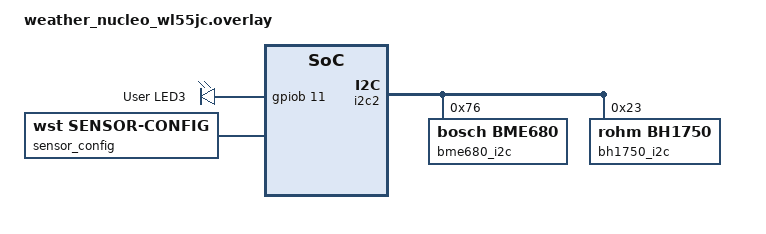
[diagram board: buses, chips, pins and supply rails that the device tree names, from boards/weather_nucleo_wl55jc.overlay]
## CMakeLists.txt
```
#
# This file is part of Weather Station project <https://github.com/VeniaminGH/Weather-Station>.
# Copyright (c) 2024 Veniamin Milevski
#
# This program is free software: you can redistribute it and/or modify
# it under the terms of the GNU General Public License as published by
# the Free Software Foundation, version 3.
#
# This program is distributed WITHOUT ANY WARRANTY. See the GNU
# General Public License for more details.
#
# You should have received a copy of the GNU General Public License
# along with this program. If not, see <https://www.gnu.org/licenses/gpl-3.0.html>.
#

cmake_minimum_required(VERSION 3.20.0)

find_package(Zephyr REQUIRED HINTS $ENV{ZEPHYR_BASE})
project(weather_station)

target_sources(app PRIVATE src/main.c)

target_sources(app PRIVATE src/wst_io_thread.c)
target_sources(app PRIVATE src/wst_app_thread.c)
target_sources(app PRIVATE src/wst_sensor_thread.c)

target_sources(app PRIVATE src/wst_cayenne_lpp.c)
target_sources(app PRIVATE src/wst_events.c)
target_sources(app PRIVATE src/wst_lorawan.c)
target_sources(app PRIVATE src/wst_sensor_config.c)
target_sources(app PRIVATE src/wst_sensor_utils.c)

target_sources_ifdef(
	CONFIG_WST_UI
    app
    PRIVATE
    src/wst_key_driver.c
	src/wst_led_driver.c
)
```

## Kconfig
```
menu "Weather Station"

source "Kconfig.zephyr"

config WST_UI
	bool "Enable user interface"
	default n
	help
		Enables control buttons and led feedback

endmenu
```

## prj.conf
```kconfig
CONFIG_USERSPACE=y
CONFIG_HW_STACK_PROTECTION=y
CONFIG_APPLICATION_DEFINED_SYSCALL=y

# RAM configuration
CONFIG_INIT_STACKS=y
CONFIG_MAIN_STACK_SIZE=1024
#CONFIG_HEAP_MEM_POOL_SIZE=4096
CONFIG_SYSTEM_WORKQUEUE_STACK_SIZE=4096

CONFIG_LOG=y
CONFIG_SPI=y
CONFIG_GPIO=y
CONFIG_SENSOR=y
CONFIG_ADC=y
CONFIG_I2C=y

# SENSOR
CONFIG_SENSOR_ASYNC_API=y
CONFIG_SENSOR_INFO=y

# I2C
CONFIG_I2C_DUMP_MESSAGES=n
CONFIG_I2C_LOG_LEVEL_DBG=n

# LORA
CONFIG_LORA=y
CONFIG_LORAWAN=y
CONFIG_LORAMAC_REGION_EU868=y
CONFIG_LORAWAN_LOG_LEVEL_DBG=y

# WST
CONFIG_WST_UI=y
```

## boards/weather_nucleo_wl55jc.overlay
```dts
/*
 * This file is part of Weather Station project <https://github.com/VeniaminGH/Weather-Station>.
 * Copyright (c) 2024 Veniamin Milevski
 *
 * This program is free software: you can redistribute it and/or modify
 * it under the terms of the GNU General Public License as published by
 * the Free Software Foundation, version 3.
 *
 * This program is distributed WITHOUT ANY WARRANTY. See the GNU
 * General Public License for more details.
 *
 * You should have received a copy of the GNU General Public License
 * along with this program. If not, see <https://www.gnu.org/licenses/gpl-3.0.html>.
 */

#include "wst_sensor_types.h"

/ {
	leds: leds {
		red_led_3: led_2 {
			gpios = <&gpiob 11 GPIO_ACTIVE_HIGH>;
			label = "User LED3";
		};
	};

	aliases {
		led0 = &blue_led_1;
		led1 = &green_led_2;
		led2 = &red_led_3;
	};
};

&i2c2 {
	bme680_i2c: bme680@76 {
		// 0x76 - SDO <-> GND
		// 0x77 - SDO <-> VCC
		compatible = "bosch,bme680";
		reg = <0x76>;
	};

	bh1750_i2c: bh1750@23 {
		// 0x23 - ADDR <-> GND
		// 0x5c - ADDR <-> VCC
		compatible = "rohm,bh1750";
		reg = <0x23>;
	};
};

/ {
	sensor_config: sensor-config {
		compatible = "wst,sensor-config";
		status = "okay";

		polling-interval-ms = <5000>;

		die_temp_sensor: die-temp-sensor {
			compatible = "wst,sensor";
			status = "okay";

			friendly-name = "Die Temp Sensor";
			channel-types =
				<WST_CHANNEL_TYPE_DIE_TEMP>;
			sensor-device = <&die_temp>;
		};

		env_sensor: env-sensor {
			compatible = "wst,sensor";
			status = "okay";

			friendly-name = "Environment Sensor";
			channel-types = <
				WST_CHANNEL_TYPE_AMBIENT_TEMP
				WST_CHANNEL_TYPE_HUMIDITY
				WST_CHANNEL_TYPE_PRESS
				WST_CHANNEL_TYPE_GAS_RES
			>;
			sensor-device = <&bme680_i2c>;
		};

		light_sensor: light-sensor {
			compatible = "wst,sensor";
			status = "okay";

			friendly-name = "Light Sensor";
			channel-types =
				<WST_CHANNEL_TYPE_LIGHT>;
			sensor-device = <&bh1750_i2c>;
		};
	};
};
```

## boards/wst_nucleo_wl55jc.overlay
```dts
/*
 * This file is part of Weather Station project <https://github.com/VeniaminGH/Weather-Station>.
 * Copyright (c) 2024 Veniamin Milevski
 *
 * This program is free software: you can redistribute it and/or modify
 * it under the terms of the GNU General Public License as published by
 * the Free Software Foundation, version 3.
 *
 * This program is distributed WITHOUT ANY WARRANTY. See the GNU
 * General Public License for more details.
 *
 * You should have received a copy of the GNU General Public License
 * along with this program. If not, see <https://www.gnu.org/licenses/gpl-3.0.html>.
 */

#include "wst_sensor_types.h"

/ {
	leds: leds {
		red_led_3: led_2 {
			gpios = <&gpiob 11 GPIO_ACTIVE_HIGH>;
			label = "User LED3";
		};
	};

	aliases {
		led0 = &blue_led_1;
		led1 = &green_led_2;
		led2 = &red_led_3;
	};
};

&i2c2 {
	bme680_i2c: bme680@76 {
		// 0x76 - SDO <-> GND
		// 0x77 - SDO <-> VCC
		compatible = "bosch,bme680";
		reg = <0x76>;
	};

	bh1750_i2c: bh1750@23 {
		// 0x23 - ADDR <-> GND
		// 0x5c - ADDR <-> VCC
		compatible = "rohm,bh1750";
		reg = <0x23>;
	};
};

/ {
	sensor_config: sensor-config {
		compatible = "wst,sensor-config";
		status = "okay";

		polling-interval-ms = <20000>;

		die_temp_sensor: die-temp-sensor {
			compatible = "wst,sensor";
			status = "okay";

			friendly-name = "Die Temp Sensor";
			channel-types =
				<WST_CHANNEL_TYPE_DIE_TEMP>;
			sensor-device = <&die_temp>;
		};

		env_sensor: env-sensor {
			compatible = "wst,sensor";
			status = "okay";

			friendly-name = "Environment Sensor";
			channel-types = <
				WST_CHANNEL_TYPE_AMBIENT_TEMP
				WST_CHANNEL_TYPE_HUMIDITY
				WST_CHANNEL_TYPE_PRESS
				WST_CHANNEL_TYPE_GAS_RES
			>;
			sensor-device = <&bme680_i2c>;
		};

		light_sensor: light-sensor {
			compatible = "wst,sensor";
			status = "okay";

			friendly-name = "Light Sensor";
			channel-types =
				<WST_CHANNEL_TYPE_LIGHT>;
			sensor-device = <&bh1750_i2c>;
		};
	};
};
```

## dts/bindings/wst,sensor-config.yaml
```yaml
#
# This file is part of Weather Station project <https://github.com/VeniaminGH/Weather-Station>.
# Copyright (c) 2024 Veniamin Milevski
#
# This program is free software: you can redistribute it and/or modify
# it under the terms of the GNU General Public License as published by
# the Free Software Foundation, version 3.
#
# This program is distributed WITHOUT ANY WARRANTY. See the GNU
# General Public License for more details.
#
# You should have received a copy of the GNU General Public License
# along with this program. If not, see <https://www.gnu.org/licenses/gpl-3.0.html>.
#

description: WST sensor configuration bindings

compatible: "wst,sensor-config"

properties:
  polling-interval-ms:
    type: int
    required: true
    description: sensor report interval in ms
```

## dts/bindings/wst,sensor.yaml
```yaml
#
# This file is part of Weather Station project <https://github.com/VeniaminGH/Weather-Station>.
# Copyright (c) 2024 Veniamin Milevski
#
# This program is free software: you can redistribute it and/or modify
# it under the terms of the GNU General Public License as published by
# the Free Software Foundation, version 3.
#
# This program is distributed WITHOUT ANY WARRANTY. See the GNU
# General Public License for more details.
#
# You should have received a copy of the GNU General Public License
# along with this program. If not, see <https://www.gnu.org/licenses/gpl-3.0.html>.
#

description: WST sensor common properties bindings

compatible: "wst,sensor"

include: sensor-device.yaml

properties:
  friendly-name:
    required: true

  channel-types:
    type: array
    required: true
    description: Zephyr sensor channel types

  sensor-device:
    type: phandle
    required: true
    description: physical sensor device
```

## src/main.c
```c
/*
 * This file is part of Weather Station project <https://github.com/VeniaminGH/Weather-Station>.
 * Copyright (c) 2024 Veniamin Milevski
 *
 * This program is free software: you can redistribute it and/or modify
 * it under the terms of the GNU General Public License as published by
 * the Free Software Foundation, version 3.
 *
 * This program is distributed WITHOUT ANY WARRANTY. See the GNU
 * General Public License for more details.
 *
 * You should have received a copy of the GNU General Public License
 * along with this program. If not, see <https://www.gnu.org/licenses/gpl-3.0.html>.
 */


#include "wst_io_thread.h"
#include "wst_app_thread.h"
#include "wst_sensor_thread.h"
#include "wst_events.h"

#include <zephyr/kernel.h>

#define LOG_LEVEL CONFIG_LOG_DEFAULT_LEVEL

#include <zephyr/logging/log.h>


LOG_MODULE_REGISTER(wst_main);


// Define IO Thread
struct k_thread wst_io_thread;
K_THREAD_STACK_DEFINE(wst_io_stack, WST_IO_STACKSIZE);

// Define Sensor Thread
struct k_thread wst_sensor_thread;
K_THREAD_STACK_DEFINE(wst_sensor_stack, WST_SENSOR_STACKSIZE);

// Define App Thread
struct k_thread wst_app_thread;
K_THREAD_STACK_DEFINE(wst_app_stack, WST_APP_STACKSIZE);


int main(void)
{
	LOG_INF("APP partition: %p %zu", (void *)wst_app_partition.start,
		(size_t)wst_app_partition.size);

	LOG_INF("Events partition: %p %zu", (void *)events_partition.start,
		(size_t)events_partition.size);

#ifdef Z_LIBC_PARTITION_EXISTS
	LOG_INF("libc partition: %p %zu", (void *)z_libc_partition.start,
		(size_t)z_libc_partition.size);
#endif
	sys_heap_init(&events_pool, events_pool_mem, sizeof(events_pool_mem));

	// Create IO Thread
	k_tid_t io_thread = k_thread_create(
		&wst_io_thread,
		wst_io_stack,
		WST_IO_STACKSIZE,
		wst_io_thread_entry,
		NULL, NULL, NULL,
		-1,
		K_INHERIT_PERMS,
		K_NO_WAIT);
	LOG_INF("IO thread is ceated");

	// Create App Thread
	k_tid_t app_thread = k_thread_create(
		&wst_app_thread,
		wst_app_stack,
		WST_APP_STACKSIZE,
		wst_app_thread_entry,
		NULL,
		NULL,
		NULL,
		-1,
		K_INHERIT_PERMS,
		K_NO_WAIT);
	LOG_INF("APP thread is ceated");

	// Create Sensor Thread
	k_tid_t sensor_thread = k_thread_create(
		&wst_sensor_thread,
		wst_sensor_stack,
		WST_SENSOR_STACKSIZE,
		wst_sensor_thread_entry,
		NULL,
		NULL,
		NULL,
		-1,
		K_INHERIT_PERMS,
		K_NO_WAIT);
	LOG_INF("SENSOR thread is ceated");

	k_thread_join(io_thread, K_FOREVER);
	k_thread_join(app_thread, K_FOREVER);
	k_thread_join(sensor_thread, K_FOREVER);

	return 0;
}
```

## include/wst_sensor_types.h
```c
/*
 * This file is part of Weather Station project <https://github.com/VeniaminGH/Weather-Station>.
 * Copyright (c) 2024 Veniamin Milevski
 *
 * This program is free software: you can redistribute it and/or modify
 * it under the terms of the GNU General Public License as published by
 * the Free Software Foundation, version 3.
 *
 * This program is distributed WITHOUT ANY WARRANTY. See the GNU
 * General Public License for more details.
 *
 * You should have received a copy of the GNU General Public License
 * along with this program. If not, see <https://www.gnu.org/licenses/gpl-3.0.html>.
 */

//
// WST channel types must match sensor channel enum values defined in sensor.h
//
#define WST_CHANNEL_TYPE_ACCEL_XYZ			(3)		// SENSOR_CHAN_ACCEL_XYZ
#define WST_CHANNEL_TYPE_GYRO_XYZ			(7)		// SENSOR_CHAN_GYRO_XYZ
#define WST_CHANNEL_TYPE_DIE_TEMP			(12)	// SENSOR_CHAN_DIE_TEMP
#define WST_CHANNEL_TYPE_AMBIENT_TEMP		(13)	// SENSOR_CHAN_AMBIENT_TEMP
#define WST_CHANNEL_TYPE_PRESS				(14)	// SENSOR_CHAN_PRESS
#define WST_CHANNEL_TYPE_HUMIDITY			(16)	// SENSOR_CHAN_HUMIDITY
#define WST_CHANNEL_TYPE_LIGHT				(17)	// SENSOR_CHAN_LIGHT
#define WST_CHANNEL_TYPE_GAS_RES			(30)	// SENSOR_CHAN_GAS_RES


//
// Skip below by Devicetree generator
//
#if defined(CONFIG_SENSOR)

#include <zephyr/drivers/sensor.h>

_Static_assert(
	(WST_CHANNEL_TYPE_ACCEL_XYZ		== SENSOR_CHAN_ACCEL_XYZ) &&
	(WST_CHANNEL_TYPE_GYRO_XYZ		== SENSOR_CHAN_GYRO_XYZ) &&
	(WST_CHANNEL_TYPE_DIE_TEMP		== SENSOR_CHAN_DIE_TEMP) &&
	(WST_CHANNEL_TYPE_AMBIENT_TEMP	== SENSOR_CHAN_AMBIENT_TEMP) &&
	(WST_CHANNEL_TYPE_PRESS			== SENSOR_CHAN_PRESS) &&
	(WST_CHANNEL_TYPE_HUMIDITY		== SENSOR_CHAN_HUMIDITY) &&
	(WST_CHANNEL_TYPE_LIGHT			== SENSOR_CHAN_LIGHT) &&
	(WST_CHANNEL_TYPE_GAS_RES		== SENSOR_CHAN_GAS_RES),
	"WST channel type defines and Sensor channel enums are not matching!");

#endif
```

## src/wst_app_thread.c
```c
/*
 * This file is part of Weather Station project <https://github.com/VeniaminGH/Weather-Station>.
 * Copyright (c) 2024 Veniamin Milevski
 *
 * This program is free software: you can redistribute it and/or modify
 * it under the terms of the GNU General Public License as published by
 * the Free Software Foundation, version 3.
 *
 * This program is distributed WITHOUT ANY WARRANTY. See the GNU
 * General Public License for more details.
 *
 * You should have received a copy of the GNU General Public License
 * along with this program. If not, see <https://www.gnu.org/licenses/gpl-3.0.html>.
 */

#include "wst_app_thread.h"
#include "wst_events.h"
#include "wst_key_driver.h"
#include "wst_led_driver.h"
#include "wst_sensor_config.h"
#include "wst_sensor_utils.h"
#include "wst_cayenne_lpp.h"

#include <zephyr/kernel.h>
#include <zephyr/device.h>
#include <zephyr/sys/libc-hooks.h>
#include <zephyr/logging/log.h>


LOG_MODULE_REGISTER(wst_app_thread);

//
// Resource pool for allocations made by the kernel on behalf of system
// calls. Needed for k_queue_alloc_append()
//
K_HEAP_DEFINE(wst_app_resource_pool, 256 * 4 + 128);

//
// Define wst_app_partition for all globals.
//
K_APPMEM_PARTITION_DEFINE(wst_app_partition);

#if defined (CONFIG_WST_UI)
//
// Global data used by WST app. By tagging with WST_APP_BSS or WST_APP_DATA,
// we ensure that all this gets linked into wst_app_partition.
//
WST_APP_BSS const struct device *key_device;
WST_APP_BSS const struct device *led_device;
#endif

#if defined (CONFIG_WST_UI)
static void key_event_handler(
	const struct device *dev,
	wst_key_id_t id,
	wst_key_event_t event,
	void* context)
{
	ARG_UNUSED(dev);
	ARG_UNUSED(context);

	LOG_INF("Key event: key_id - %d, event - %d", id, event);

	switch (id)
	{
		case WST_KEY_ID_0:
			wst_led_driver_set_state(
				led_device,
				WST_LED_ID_BLUE,
				(WST_KEY_EVENT_KEY_DOWN == event) ? true : false);
			break;

		case WST_KEY_ID_1:
			wst_led_driver_set_state(
				led_device,
				WST_LED_ID_GREEN,
				(WST_KEY_EVENT_KEY_DOWN == event) ? true : false);
			break;

		case WST_KEY_ID_2:
			wst_led_driver_set_state(
				led_device,
				WST_LED_ID_RED,
				(WST_KEY_EVENT_KEY_DOWN == event) ? true : false);
			break;

		default:
			break;
	}
}
#endif

static void stream_sensor_data(const wst_event_msg_t* msg, cayenne_lpp_stream_t* stream)
{
	for (uint16_t i = 0; i < msg->sensor.count; i++) {

		struct sensor_value val;
		cayenne_lpp_value_t lpp_value;
		cayenne_lpp_result_t result = cayenne_lpp_result_success;
		const wst_sensor_value_t* value = &msg->sensor.values[i];

		if (wst_sensor_format_scalar == wst_sensor_get_channel_format(value->spec.chan_type)) {

			wst_q31_to_sensor_value(
				value->data.q31_data.readings[0].value,
				value->data.q31_data.shift,
				&val
			);

			LOG_INF("%-20s : %6d.%06d",
				wst_sensor_get_channel_name(value->spec.chan_type),
				((val.val1 < 0) || (val.val2 < 0)) ? 0 - abs(val.val1) : abs(val.val1),
				abs(val.val2)
			);
		};

		switch (value->spec.chan_type) {
			case SENSOR_CHAN_AMBIENT_TEMP:
			case SENSOR_CHAN_DIE_TEMP:
				{
				lpp_value.temperature_sensor.celsius = sensor_value_to_float(&val);

				result = cayenne_lpp_stream_write(
					stream,
					SENSOR_CHAN_DIE_TEMP == value->spec.chan_type ?
						(value->spec.chan_idx + 0x80) :
						value->spec.chan_idx,
					cayenne_lpp_type_temperature_sensor,
					&lpp_value);
				}
				break;

			case SENSOR_CHAN_LIGHT:
				{
				lpp_value.illuminance_sensor.lux = sensor_value_to_float(&val);

				result = cayenne_lpp_stream_write(
					stream,
					value->spec.chan_idx,
					cayenne_lpp_type_illuminance_sensor,
					&lpp_value);
				}
				break;

			case SENSOR_CHAN_HUMIDITY:
				{
				lpp_value.humidity_sensor.rh = sensor_value_to_float(&val);

				result = cayenne_lpp_stream_write(
					stream,
					value->spec.chan_idx,
					cayenne_lpp_type_humidity_sensor,
					&lpp_value);
				}
				break;

			case SENSOR_CHAN_PRESS:
				{
				lpp_value.barometer.hpa = sensor_value_to_float(&val);

				result = cayenne_lpp_stream_write(
					stream,
					value->spec.chan_idx,
					cayenne_lpp_type_barometer,
					&lpp_value);
				}
				break;

			default:
				break;
		};

		if (cayenne_lpp_result_error_end_of_stream == result) {
			// return and send what we have serialized
			return;
		}
	}
}

static void process_sensor_data_event(wst_event_msg_t* msg, size_t max_size)
{
	size_t stream_size = 0;
	const uint8_t* stream_buffer = NULL;

	cayenne_lpp_stream_t* stream = cayenne_lpp_stream_new(
		max_size,
		NULL
	);

	stream_sensor_data(msg, stream);

	stream_buffer = cayenne_lpp_stream_get_buffer(
		stream,
		NULL,
		&stream_size
	);

	if (stream_buffer)
	{
		wst_event_msg_t* io_msg = sys_heap_alloc(
			&events_pool,
			sizeof(wst_event_msg_t) + stream_size
		);

		if (io_msg == NULL) {
			LOG_ERR("couldn't alloc memory from shared pool");
			k_panic();
		}

		io_msg->event = wst_event_lorawan_send;
		io_msg->lorawan.send.size = stream_size;

		memcpy(
			io_msg->lorawan.send.payload,
			stream_buffer,
			stream_size
		);

		k_queue_alloc_append(&io_events_queue, io_msg);
	}
	cayenne_lpp_stream_delete(stream);
}

static void application_thread(void *p1, void *p2, void *p3)
{
	ARG_UNUSED(p1);
	ARG_UNUSED(p2);
	ARG_UNUSED(p3);

	LOG_DBG("Application thread entered");

	wst_event_msg_t* msg;

	bool joined = false;
	bool busy = false;

	size_t max_size = 10;

	// Send join message to IO Thread
	msg = sys_heap_alloc(&events_pool, sizeof(wst_event_msg_t));
	if (msg == NULL) {
		LOG_ERR("couldn't alloc memory from shared pool");
		k_panic();
	}
	msg->event = wst_event_lorawan_join;
	k_queue_alloc_append(&io_events_queue, msg);


	//
	// Wait for indication that IO thread joined the LoRaWAN Network
	//
	while (1) {
		msg = k_queue_get(&app_events_queue, K_FOREVER);

		if (msg == NULL) {
			LOG_ERR("no msg?");
			k_panic();
		}

		switch (msg->event) {

		case wst_event_lorawan_datarate:
			LOG_INF("Datarate message received");
			if (!joined) {
				LOG_INF("Joined the Network!");
				joined = true;
			}
			LOG_INF("New Datarate: DR_%d, Next Paylaod %d, Max Payload %d",
				msg->lorawan.datarate.dr,
				msg->lorawan.datarate.next_size,
				msg->lorawan.datarate.max_size);
			max_size = msg->lorawan.datarate.max_size;
			break;

		case wst_event_sensor_data_available:
			LOG_INF("Data available message received");
			if (joined && max_size && !busy)
			{
				busy = true;
				process_sensor_data_event(msg, max_size);
			}
			break;

		case wst_event_lorawan_send_completed:
			LOG_INF("Send completed message received");
			busy = false;
			break;

		default:
			break;
		}

		// free the message
		sys_heap_free(&events_pool, msg);
	}
}

//
// Supervisor mode setup function for APP Thread
//
void wst_app_thread_entry(void *p1, void *p2, void *p3)
{
	int ret;

	LOG_INF("APP thread entry");

#if defined (CONFIG_WST_UI)
	key_device = device_get_binding(WST_KEY_DRIVER_NAME);
	if (key_device == NULL) {
		LOG_ERR("Failed to bind key device!");
		k_oops();
	}

	led_device = device_get_binding(WST_LED_DRIVER_NAME);
	if (led_device == NULL) {
		LOG_ERR("Failed to bind led device!");
		k_oops();
	}
#endif

	if (wst_app_partition.size) {
		//
		// Use default memory domain for our application thread
		// add add application to it.
		//
		ret = k_mem_domain_add_partition(
			&k_mem_domain_default,
			&wst_app_partition
		);
		if (ret != 0) {
			LOG_ERR("Failed to add wst_app_partition to mem domain (%d)", ret);
			k_oops();
		}
	}

	//
	// Add shared partition for messaging
	//
	ret = k_mem_domain_add_partition(
		&k_mem_domain_default,
		&events_partition
	);
	if (ret != 0) {
		LOG_ERR("Failed to add shared_partition to mem domain (%d)", ret);
		k_oops();
	}

	//
	// And system-wide pool of memory used by libc malloc()
	// needed for wst_cayenne_lpp module
	//
	ret = k_mem_domain_add_partition(
		&k_mem_domain_default,
		&z_malloc_partition
	);
	if (ret != 0) {
		LOG_ERR("Failed to add z_malloc_partition to mem domain (%d)", ret);
		k_oops();
	}

	//
	// Assign app resource pool to serve for kernel-side allocations
	// for k_queue_alloc_append().
	//
	k_thread_heap_assign(k_current_get(), &wst_app_resource_pool);

	//
	// Grant ourselves access to kernel device objects and shared queues.
	//
	k_thread_access_grant(
		k_current_get(),
#if defined (CONFIG_WST_UI)
		key_device,
		led_device,
#endif
		&app_events_queue,
		&io_events_queue
	);

#if defined (CONFIG_WST_UI)
	//
	// Set the callback function for the key driver. This has to be
	// done from supervisor mode, as this code will run in supervisor
	// mode in system worker context.
	//
	wst_key_driver_set_handler(key_device, key_event_handler, NULL);
#endif

	//
	// Switch APP thread to user mode
	//
	k_thread_user_mode_enter(application_thread, NULL, NULL, NULL);
}
```

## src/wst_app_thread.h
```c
/*
 * This file is part of Weather Station project <https://github.com/VeniaminGH/Weather-Station>.
 * Copyright (c) 2024 Veniamin Milevski
 *
 * This program is free software: you can redistribute it and/or modify
 * it under the terms of the GNU General Public License as published by
 * the Free Software Foundation, version 3.
 *
 * This program is distributed WITHOUT ANY WARRANTY. See the GNU
 * General Public License for more details.
 *
 * You should have received a copy of the GNU General Public License
 * along with this program. If not, see <https://www.gnu.org/licenses/gpl-3.0.html>.
 */

#pragma once

#include <zephyr/kernel.h>
#include <zephyr/app_memory/app_memdomain.h>

#define WST_APP_STACKSIZE	4096

void wst_app_thread_entry(void *p1, void *p2, void *p3);

extern struct k_mem_partition wst_app_partition;

#define WST_APP_DATA	K_APP_DMEM(wst_app_partition)
#define WST_APP_BSS		K_APP_BMEM(wst_app_partition)
```

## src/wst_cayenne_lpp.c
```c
/*
 * This file is part of Weather Station project <https://github.com/VeniaminGH/Weather-Station>.
 * Copyright (c) 2024 Veniamin Milevski
 *
 * This program is free software: you can redistribute it and/or modify
 * it under the terms of the GNU General Public License as published by
 * the Free Software Foundation, version 3.
 *
 * This program is distributed WITHOUT ANY WARRANTY. See the GNU
 * General Public License for more details.
 *
 * You should have received a copy of the GNU General Public License
 * along with this program. If not, see <https://www.gnu.org/licenses/gpl-3.0.html>.
 *
 * This module is based on below specification:
 *
 *   https://docs.mydevices.com/docs/lorawan/cayenne-lpp
 *
 */

#include "wst_cayenne_lpp.h"

#include <zephyr/sys/__assert.h>

#include <string.h>
#include <stdlib.h>
#include <stdint.h>

#define ROUND(f)	((f) + (((f) >= 0.0f) ? (0.5f) : (-0.5f)))

// Record size is field size + 1 byte for Channel + 1 byte for Type
#define CAYENNE_LPP_RECORD_SIZE(size)	((size) + 2)

#define HI_BYTE(b)	(((uint16_t)(b)) >> 8)
#define LO_BYTE(b)	(((uint16_t)(b)) & 0xff)

struct cayenne_lpp_stream {
	size_t size;
	uint8_t wr_pos;
	uint8_t rd_pos;
	uint8_t buffer[0];
};

typedef struct cayenne_lpp_encoding {
	size_t size;
} cayenne_lpp_encoding_t;

static const cayenne_lpp_encoding_t encoding[] = {
	[cayenne_lpp_type_digital_input]		= { .size = 1 },
	[cayenne_lpp_type_digital_output]		= { .size = 1 },
	[cayenne_lpp_type_analog_input]			= { .size = 2 },
	[cayenne_lpp_type_analog_output]		= { .size = 2 },
	[cayenne_lpp_type_temperature_sensor]	= { .size = 2 },
	[cayenne_lpp_type_humidity_sensor]		= { .size = 1 },
	[cayenne_lpp_type_barometer]			= { .size = 2 },
	[cayenne_lpp_type_illuminance_sensor]	= { .size = 2 },
};

static cayenne_lpp_result_t cayenne_lpp_type_check(cayenne_lpp_type_t type)
{
	switch (type)
	{
		case cayenne_lpp_type_digital_input:
		case cayenne_lpp_type_digital_output:
		case cayenne_lpp_type_analog_input:
		case cayenne_lpp_type_analog_output:
		case cayenne_lpp_type_temperature_sensor:
		case cayenne_lpp_type_humidity_sensor:
		case cayenne_lpp_type_barometer:
		case cayenne_lpp_type_illuminance_sensor:
			break;
		case cayenne_lpp_type_generic_sensor:
		case cayenne_lpp_type_presence_sensor:
		case cayenne_lpp_type_power_measurement:
		case cayenne_lpp_type_actuation:
		case cayenne_lpp_type_set_point:
		case cayenne_lpp_type_load_control:
		case cayenne_lpp_type_light_control:
		case cayenne_lpp_type_power_control:
		case cayenne_lpp_type_accelerometer:
		case cayenne_lpp_type_magnometer:
		case cayenne_lpp_type_voltage:
		case cayenne_lpp_type_current:
		case cayenne_lpp_type_frequency:
		case cayenne_lpp_type_depth:
		case cayenne_lpp_type_percentage:
		case cayenne_lpp_type_altitude:
		case cayenne_lpp_type_load:
		case cayenne_lpp_type_pressure:
		case cayenne_lpp_type_loudness:
		case cayenne_lpp_type_concentration:
		case cayenne_lpp_type_acidity:
		case cayenne_lpp_type_conductivity:
		case cayenne_lpp_type_power:
		case cayenne_lpp_type_power_factor:
		case cayenne_lpp_type_distance:
		case cayenne_lpp_type_energy:
		case cayenne_lpp_type_direction:
		case cayenne_lpp_type_time:
		case cayenne_lpp_type_gyrometer:
		case cayenne_lpp_type_color:
		case cayenne_lpp_type_gps_location:
		case cayenne_lpp_type_positioner:
		case cayenne_lpp_type_buzzer:
		case cayenne_lpp_type_audio_clip:
		case cayenne_lpp_type_timer:
		case cayenne_lpp_type_addr_text_display:
		case cayenne_lpp_type_onoff_switch:
		case cayenne_lpp_type_level_control:
		case cayenne_lpp_type_updown_control:
		case cayenne_lpp_type_multi_axis_control:
		case cayenne_lpp_type_rate:
		case cayenne_lpp_type_push_button:
		case cayenne_lpp_type_multistate_selector:
			return cayenne_lpp_result_error_not_implemented;
		default:
			return cayenne_lpp_result_error_unknown_type;
	}

	return cayenne_lpp_result_success;
}

cayenne_lpp_stream_t* cayenne_lpp_stream_new(size_t size, uint8_t* buffer)
{
	cayenne_lpp_stream_t* stream = malloc(sizeof(cayenne_lpp_stream_t) + size);
	__ASSERT(stream, "Failed to allocate cayenne lpp stream context!");

	stream->size = size;
	stream->wr_pos = 0;
	stream->rd_pos = 0;

	if (buffer)
	{
		memcpy(stream->buffer, buffer, size);
		// move wr_pos to the end
		stream->wr_pos = size;
	}
	return stream;
}

void cayenne_lpp_stream_delete(cayenne_lpp_stream_t* stream)
{
	__ASSERT_NO_MSG(stream);
	free(stream);
}

cayenne_lpp_result_t cayenne_lpp_stream_write(
	cayenne_lpp_stream_t* stream,
	uint8_t channel,
	cayenne_lpp_type_t type,
	const cayenne_lpp_value_t* value)
{
	__ASSERT_NO_MSG(stream);
	__ASSERT_NO_MSG(value);

	// check supported cayenne type
	cayenne_lpp_result_t result = cayenne_lpp_type_check(type);
	if (cayenne_lpp_result_success != result) {
		return result;
	}

	// check available stream buffer space
	if (CAYENNE_LPP_RECORD_SIZE(encoding[type].size) >
		(stream->size - stream->wr_pos)) {
		return cayenne_lpp_result_error_overflow;
	}

	switch (type)
	{
		case cayenne_lpp_type_digital_input:
		case cayenne_lpp_type_digital_output:
			{
			// 1 byte, unsigned
			stream->buffer[stream->wr_pos++] = channel;
			stream->buffer[stream->wr_pos++] = (uint8_t) type;
			stream->buffer[stream->wr_pos++] = value->digital_input;
			}
			break;

		case cayenne_lpp_type_analog_input:
		case cayenne_lpp_type_analog_output:
			{
			// 2 bytes, signed, 0.01
			int32_t val = (int32_t) ROUND(value->analog_input * 100.0f);
			if ((val < INT16_MIN) || (val > INT16_MAX))
				return cayenne_lpp_result_error_out_of_range;
			stream->buffer[stream->wr_pos++] = channel;
			stream->buffer[stream->wr_pos++] = (uint8_t) type;
			stream->buffer[stream->wr_pos++] = HI_BYTE(val);
			stream->buffer[stream->wr_pos++] = LO_BYTE(val);
			}
			break;

		case cayenne_lpp_type_temperature_sensor:
			{
			// 2 bytes, signed, 0.1°C
			int32_t val = (int32_t) ROUND(value->temperature_sensor.celsius * 10.0f);
			if ((val < INT16_MIN) || (val > INT16_MAX))
				return cayenne_lpp_result_error_out_of_range;
			stream->buffer[stream->wr_pos++] = channel;
			stream->buffer[stream->wr_pos++] = (uint8_t) type;
			stream->buffer[stream->wr_pos++] = HI_BYTE(val);
			stream->buffer[stream->wr_pos++] = LO_BYTE(val);
			}
			break;

		case cayenne_lpp_type_humidity_sensor:
			{
			// 1 byte, unsigned, 0.5%
			if ((value->humidity_sensor.rh < 0) || (value->humidity_sensor.rh > 100.0f))
				return cayenne_lpp_result_error_out_of_range;
			uint32_t val = (uint32_t) ROUND(value->humidity_sensor.rh * 2.0f);
			stream->buffer[stream->wr_pos++] = channel;
			stream->buffer[stream->wr_pos++] = (uint8_t) type;
			stream->buffer[stream->wr_pos++] = LO_BYTE(val);
			}
			break;

		case cayenne_lpp_type_barometer:
			{
			// 2 bytes, unsigned, 0.1 hPa
			int32_t val = (int32_t) ROUND(value->barometer.hpa * 10.0f);
			if ((val < 0) || (val > UINT16_MAX))
				return cayenne_lpp_result_error_out_of_range;
			stream->buffer[stream->wr_pos++] = channel;
			stream->buffer[stream->wr_pos++] = (uint8_t) type;
			stream->buffer[stream->wr_pos++] = HI_BYTE(val);
			stream->buffer[stream->wr_pos++] = LO_BYTE(val);
			}
			break;

		case cayenne_lpp_type_illuminance_sensor:
			{
			// 2 bytes, unsigned, 1 lux
			int32_t val = (int32_t) ROUND(value->illuminance_sensor.lux);
			if ((val < 0) || (val > UINT16_MAX))
				return cayenne_lpp_result_error_out_of_range;
			stream->buffer[stream->wr_pos++] = channel;
			stream->buffer[stream->wr_pos++] = (uint8_t) type;
			stream->buffer[stream->wr_pos++] = HI_BYTE(val);
			stream->buffer[stream->wr_pos++] = LO_BYTE(val);
			}
			break;

		default:
			return cayenne_lpp_result_error_unknown_type;
	}

	return cayenne_lpp_result_success;
}

cayenne_lpp_result_t cayenne_lpp_stream_read(
	cayenne_lpp_stream_t* stream,
	uint8_t* channel,
	cayenne_lpp_type_t* type,
	cayenne_lpp_value_t* value)
{
	__ASSERT_NO_MSG(stream);
	return cayenne_lpp_result_error_not_implemented;
}

const uint8_t* cayenne_lpp_stream_get_buffer(
	cayenne_lpp_stream_t* stream,
	size_t* buffer_size,
	size_t* stream_size)
{
	__ASSERT_NO_MSG(stream);
	if (buffer_size) {
		*buffer_size = stream->size;
	}
	if (stream_size) {
		*stream_size = stream->wr_pos;
	}
	return stream->buffer;
}

size_t cayenne_lpp_stream_get_free_space(
	cayenne_lpp_stream_t* stream)
{
	__ASSERT_NO_MSG(stream);
	return stream->size - stream->wr_pos;
}


void cayenne_lpp_stream_reset(
	cayenne_lpp_stream_t* stream)
{
	__ASSERT_NO_MSG(stream);
	stream->wr_pos = 0;
	stream->rd_pos = 0;
}
```

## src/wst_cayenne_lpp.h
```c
/*
 * This file is part of Weather Station project <https://github.com/VeniaminGH/Weather-Station>.
 * Copyright (c) 2024 Veniamin Milevski
 *
 * This program is free software: you can redistribute it and/or modify
 * it under the terms of the GNU General Public License as published by
 * the Free Software Foundation, version 3.
 *
 * This program is distributed WITHOUT ANY WARRANTY. See the GNU
 * General Public License for more details.
 *
 * You should have received a copy of the GNU General Public License
 * along with this program. If not, see <https://www.gnu.org/licenses/gpl-3.0.html>.
 *
 * This module is based on below specification:
 *
 *   https://docs.mydevices.com/docs/lorawan/cayenne-lpp
 *
 */

#pragma once

#include <stdint.h>
#include <stddef.h>

#define IPSO_OBJECT_ID_BASE					(3200)

//
// Values are taken from https://omaspecworks.org/wp-content/uploads/2018/03/ipso-paper.pdf
//

// IPSO Starter Pack Objects

#define IPSO_OBJECT_ID_DIGITAL_INPUT		(3200)	// Digital Input
#define IPSO_OBJECT_ID_DIGITAL_OUTPUT		(3201)	// Digital Output
#define IPSO_OBJECT_ID_ANALOG_INPUT			(3202)	// Analogue Input
#define IPSO_OBJECT_ID_ANALOG_OUTPUT		(3203)	// Analogue Output
#define IPSO_OBJECT_ID_GENERIC_SENSOR		(3300)	// Generic Sensor
#define IPSO_OBJECT_ID_ILLUMINANCE_SENSOR	(3301)	// Illuminance Sensor
#define IPSO_OBJECT_ID_PRESENCE_SENSOR		(3302)	// Presence Sensor
#define IPSO_OBJECT_ID_TEMPERATURE_SENSOR	(3303)	// Temperature Sensor
#define IPSO_OBJECT_ID_HUMIDITY_SENSOR		(3304)	// Humidity Sensor
#define IPSO_OBJECT_ID_POWER_MEASUREMENT	(3305)	// Power Measurement
#define IPSO_OBJECT_ID_ACTUATION			(3306)	// Actuation
#define IPSO_OBJECT_ID_SET_POINT			(3308)	// Set Point
#define IPSO_OBJECT_ID_LOAD_CONTROL			(3310)	// Load Control
#define IPSO_OBJECT_ID_LIGHT_CONTROL		(3311)	// Light Control
#define IPSO_OBJECT_ID_POWER_CONTROL		(3312)	// Power Control
#define IPSO_OBJECT_ID_ACCELEROMETER		(3313)	// Accelerometer
#define IPSO_OBJECT_ID_MAGNOMETER			(3314)	// Magnetometer
#define IPSO_OBJECT_ID_BAROMETER			(3315)	// Barometer

// IPSO Expansion Pack Objects

#define IPSO_OBJECT_ID_VOLTAGE				(3316)	// Voltage
#define IPSO_OBJECT_ID_CURRENT				(3317)	// Current
#define IPSO_OBJECT_ID_FREQUENCY			(3318)	// Frequency
#define IPSO_OBJECT_ID_DEPTH				(3319)	// Depth
#define IPSO_OBJECT_ID_PERCENTAGE			(3320)	// Percentage
#define IPSO_OBJECT_ID_ALTITUDE				(3321)	// Altitude
#define IPSO_OBJECT_ID_LOAD					(3322)	// Load
#define IPSO_OBJECT_ID_PRESSURE				(3323)	// Pressure
#define IPSO_OBJECT_ID_LOUDNESS				(3324)	// Loudness
#define IPSO_OBJECT_ID_CONCENTRATION		(3325)	// Concentration
#define IPSO_OBJECT_ID_ACIDITY				(3326)	// Acidity
#define IPSO_OBJECT_ID_CONDUCTIVITY			(3327)	// Conductivity
#define IPSO_OBJECT_ID_POWER				(3328)	// Power
#define IPSO_OBJECT_ID_POWER_FACTOR			(3329)	// Power Factor
#define IPSO_OBJECT_ID_DISTANCE				(3330)	// Distance
#define IPSO_OBJECT_ID_ENERGY				(3331)	// Energy
#define IPSO_OBJECT_ID_DIRECTION			(3332)	// Direction
#define IPSO_OBJECT_ID_TIME					(3333)	// Time
#define IPSO_OBJECT_ID_GYROMETER			(3334)	// Gyrometer
#define IPSO_OBJECT_ID_COLOR				(3335)	// Color
#define IPSO_OBJECT_ID_GPS_LOCATION			(3336)	// GPS Location
#define IPSO_OBJECT_ID_POSITIONER			(3337)	// Positioner
#define IPSO_OBJECT_ID_BUZZER				(3338)	// Buzzer
#define IPSO_OBJECT_ID_AUDIO_CLIP			(3339)	// Audio Clip
#define IPSO_OBJECT_ID_TIMER				(3340)	// Timer
#define IPSO_OBJECT_ID_ADDR_TEXT_DISPLAY	(3341)	// Addressable Text Display
#define IPSO_OBJECT_ID_ONOFF_SWITCH			(3342)	// On/Off Switch
#define IPSO_OBJECT_ID_LEVEL_CONTROL		(3343)	// Level Control
#define IPSO_OBJECT_ID_UPDOWN_CONTROL		(3344)	// Up/Down Control
#define IPSO_OBJECT_ID_MULTI_AXIS_JOYSTICK	(3345)	// Multiple Axis Joystick
#define IPSO_OBJECT_ID_RATE					(3346)	// Rate
#define IPSO_OBJECT_ID_PUSH_BTTON			(3347)	// Push Button
#define IPSO_OBJECT_ID_MULTISTATE_SELECTOR	(3348)	// Multistate Selector


#define CAYENNE_LPP_TYPE(ipso_id)			((ipso_id) - IPSO_OBJECT_ID_BASE)



/**
 * @brief Opaque Cayenne LPP context
 */
typedef struct cayenne_lpp_stream cayenne_lpp_stream_t;

/**
 * @brief Cayenne LPP result type
 */
typedef enum {
	cayenne_lpp_result_success = 0,					//< success
	cayenne_lpp_result_error_unknown_type = 1,		//< unknown data type
	cayenne_lpp_result_error_not_implemented = 2,	//< unsuported data type
	cayenne_lpp_result_error_overflow = 3,			//< no free space in encoding stream
	cayenne_lpp_result_error_end_of_stream = 4,		//< end of encoding stream
	cayenne_lpp_result_error_out_of_range = 5		//< input is out of supported range
} cayenne_lpp_result_t;

/**
 * @brief Cayenne LPP data type
 */
typedef enum {
	cayenne_lpp_type_digital_input			= CAYENNE_LPP_TYPE(IPSO_OBJECT_ID_DIGITAL_INPUT),
	cayenne_lpp_type_digital_output			= CAYENNE_LPP_TYPE(IPSO_OBJECT_ID_DIGITAL_OUTPUT),
	cayenne_lpp_type_analog_input			= CAYENNE_LPP_TYPE(IPSO_OBJECT_ID_ANALOG_INPUT),
	cayenne_lpp_type_analog_output			= CAYENNE_LPP_TYPE(IPSO_OBJECT_ID_ANALOG_OUTPUT),
	cayenne_lpp_type_generic_sensor			= CAYENNE_LPP_TYPE(IPSO_OBJECT_ID_GENERIC_SENSOR),
	cayenne_lpp_type_illuminance_sensor		= CAYENNE_LPP_TYPE(IPSO_OBJECT_ID_ILLUMINANCE_SENSOR),
	cayenne_lpp_type_presence_sensor		= CAYENNE_LPP_TYPE(IPSO_OBJECT_ID_PRESENCE_SENSOR),
	cayenne_lpp_type_temperature_sensor		= CAYENNE_LPP_TYPE(IPSO_OBJECT_ID_TEMPERATURE_SENSOR),
	cayenne_lpp_type_humidity_sensor		= CAYENNE_LPP_TYPE(IPSO_OBJECT_ID_HUMIDITY_SENSOR),
	cayenne_lpp_type_power_measurement		= CAYENNE_LPP_TYPE(IPSO_OBJECT_ID_POWER_MEASUREMENT),
	cayenne_lpp_type_actuation				= CAYENNE_LPP_TYPE(IPSO_OBJECT_ID_ACTUATION),
	cayenne_lpp_type_set_point				= CAYENNE_LPP_TYPE(IPSO_OBJECT_ID_SET_POINT),
	cayenne_lpp_type_load_control			= CAYENNE_LPP_TYPE(IPSO_OBJECT_ID_LOAD_CONTROL),
	cayenne_lpp_type_light_control			= CAYENNE_LPP_TYPE(IPSO_OBJECT_ID_LIGHT_CONTROL),
	cayenne_lpp_type_power_control			= CAYENNE_LPP_TYPE(IPSO_OBJECT_ID_POWER_CONTROL),
	cayenne_lpp_type_accelerometer			= CAYENNE_LPP_TYPE(IPSO_OBJECT_ID_ACCELEROMETER),
	cayenne_lpp_type_magnometer				= CAYENNE_LPP_TYPE(IPSO_OBJECT_ID_MAGNOMETER),
	cayenne_lpp_type_barometer				= CAYENNE_LPP_TYPE(IPSO_OBJECT_ID_BAROMETER),
	cayenne_lpp_type_voltage				= CAYENNE_LPP_TYPE(IPSO_OBJECT_ID_VOLTAGE),
	cayenne_lpp_type_current				= CAYENNE_LPP_TYPE(IPSO_OBJECT_ID_CURRENT),
	cayenne_lpp_type_frequency				= CAYENNE_LPP_TYPE(IPSO_OBJECT_ID_FREQUENCY),
	cayenne_lpp_type_depth					= CAYENNE_LPP_TYPE(IPSO_OBJECT_ID_DEPTH),
	cayenne_lpp_type_percentage				= CAYENNE_LPP_TYPE(IPSO_OBJECT_ID_PERCENTAGE),
	cayenne_lpp_type_altitude				= CAYENNE_LPP_TYPE(IPSO_OBJECT_ID_ALTITUDE),
	cayenne_lpp_type_load					= CAYENNE_LPP_TYPE(IPSO_OBJECT_ID_LOAD),
	cayenne_lpp_type_pressure				= CAYENNE_LPP_TYPE(IPSO_OBJECT_ID_PRESSURE),
	cayenne_lpp_type_loudness				= CAYENNE_LPP_TYPE(IPSO_OBJECT_ID_LOUDNESS),
	cayenne_lpp_type_concentration			= CAYENNE_LPP_TYPE(IPSO_OBJECT_ID_CONCENTRATION),
	cayenne_lpp_type_acidity				= CAYENNE_LPP_TYPE(IPSO_OBJECT_ID_ACIDITY),
	cayenne_lpp_type_conductivity			= CAYENNE_LPP_TYPE(IPSO_OBJECT_ID_CONDUCTIVITY),
	cayenne_lpp_type_power					= CAYENNE_LPP_TYPE(IPSO_OBJECT_ID_POWER),
	cayenne_lpp_type_power_factor			= CAYENNE_LPP_TYPE(IPSO_OBJECT_ID_POWER_FACTOR),
	cayenne_lpp_type_distance				= CAYENNE_LPP_TYPE(IPSO_OBJECT_ID_DISTANCE),
	cayenne_lpp_type_energy					= CAYENNE_LPP_TYPE(IPSO_OBJECT_ID_ENERGY),
	cayenne_lpp_type_direction				= CAYENNE_LPP_TYPE(IPSO_OBJECT_ID_DIRECTION),
	cayenne_lpp_type_time					= CAYENNE_LPP_TYPE(IPSO_OBJECT_ID_TIME),
	cayenne_lpp_type_gyrometer				= CAYENNE_LPP_TYPE(IPSO_OBJECT_ID_GYROMETER),
	cayenne_lpp_type_color					= CAYENNE_LPP_TYPE(IPSO_OBJECT_ID_COLOR),
	cayenne_lpp_type_gps_location			= CAYENNE_LPP_TYPE(IPSO_OBJECT_ID_GPS_LOCATION),
	cayenne_lpp_type_positioner				= CAYENNE_LPP_TYPE(IPSO_OBJECT_ID_POSITIONER),
	cayenne_lpp_type_buzzer					= CAYENNE_LPP_TYPE(IPSO_OBJECT_ID_BUZZER),
	cayenne_lpp_type_audio_clip				= CAYENNE_LPP_TYPE(IPSO_OBJECT_ID_AUDIO_CLIP),
	cayenne_lpp_type_timer					= CAYENNE_LPP_TYPE(IPSO_OBJECT_ID_TIMER),
	cayenne_lpp_type_addr_text_display		= CAYENNE_LPP_TYPE(IPSO_OBJECT_ID_ADDR_TEXT_DISPLAY),
	cayenne_lpp_type_onoff_switch			= CAYENNE_LPP_TYPE(IPSO_OBJECT_ID_ONOFF_SWITCH),
	cayenne_lpp_type_level_control			= CAYENNE_LPP_TYPE(IPSO_OBJECT_ID_LEVEL_CONTROL),
	cayenne_lpp_type_updown_control			= CAYENNE_LPP_TYPE(IPSO_OBJECT_ID_UPDOWN_CONTROL),
	cayenne_lpp_type_multi_axis_control		= CAYENNE_LPP_TYPE(IPSO_OBJECT_ID_MULTI_AXIS_JOYSTICK),
	cayenne_lpp_type_rate					= CAYENNE_LPP_TYPE(IPSO_OBJECT_ID_RATE),
	cayenne_lpp_type_push_button			= CAYENNE_LPP_TYPE(IPSO_OBJECT_ID_PUSH_BTTON),
	cayenne_lpp_type_multistate_selector	= CAYENNE_LPP_TYPE(IPSO_OBJECT_ID_MULTISTATE_SELECTOR)
} cayenne_lpp_type_t;

/**
 * @brief Cayenne LPP value type
 */
typedef union {
		uint8_t digital_input;		//< range: 0 .. 255
		uint8_t digital_output;		//< range: 0 .. 255

		float analog_input;			//< range: -327.68 .. 327.67
		float analog_output;			

		struct {
			float celsius;			//< range: -3276.8°C .. +3276.7°C
		} temperature_sensor;

		struct {
			float rh;				//< range: 0.0% .. 100.0%
		} humidity_sensor;

		struct {
			float hpa;				//< range: 0.0 hpa .. 6553.5 hpa
		} barometer;

		struct {
			float lux;				//< range: 0.0 lux .. 65535.0 lux
		} illuminance_sensor;

		struct {
			float x;
			float y;
			float z;
		} gps_location;

		struct {
			float x;
			float y;
			float z;
		} gyrometer;

		struct {
			float x;
			float y;
			float z;
		} accelerometer;
} cayenne_lpp_value_t;


/**
 * @brief Creates new stream for encoding or decoding.
 *
 * Creats cayenne stream for encoding/decoding with the given size.
 * If buffer is not provided, the stream is created for encoding.
 * If provided, the stream is created for decoding from the given buffer.
 *
 * @param[in] size        maximum stream size
 * @param[in] buffer      optional buffer pointer, may be NULL
 *
 * @return Opaque stream pointer or NULL
 */
cayenne_lpp_stream_t* cayenne_lpp_stream_new(size_t size, uint8_t* buffer);

/**
 * @brief Deletes given stream and deallocates all its resources.
 *
 * @param[in] stream      opaque pointer to the stream
 */
void cayenne_lpp_stream_delete(cayenne_lpp_stream_t* stream);


/**
 * @brief Writes value to encoding stream.
 *
 * The stream must be opened in encoding mode.
 *
 * @param[in] stream      opaque pointer to the stream
 * @param[in] channel     the data channel to write
 * @param[in] type        the data type to write
 * @param[in] value       pointer to data value to write
 *
 * @return @cayenne_lpp_result_success on success or one of the error codes:
 *
 *   cayenne_lpp_result_error_unknown_type:    unknown data type
 *   cayenne_lpp_result_error_not_implemented: unsuported data type
 *   cayenne_lpp_result_error_overflow:        no free space in the stream
 */
cayenne_lpp_result_t cayenne_lpp_stream_write(
	cayenne_lpp_stream_t* stream,
	uint8_t channel,
	cayenne_lpp_type_t type,
	const cayenne_lpp_value_t* value);


/**
 * @brief Reads value from decoding stream.
 *
 * The stream must be opened in decoding mode.
 *
 * @param[in]  stream      opaque pointer to the stream
 * @param[out] channel    read data channel
 * @param[out] type       read data type
 * @param[out] value      read data value
 *
 * @return @cayenne_lpp_result_success on success or one of the error codes:
 *
 *   cayenne_lpp_result_error_unknown_type:    unknown data type
 *   cayenne_lpp_result_error_not_implemented: unsuported data type,
 *   cayenne_lpp_result_error_end_of_stream:   end of encoding stream
 */
cayenne_lpp_result_t cayenne_lpp_stream_read(
	cayenne_lpp_stream_t* stream,
	uint8_t* channel,
	cayenne_lpp_type_t* type,
	cayenne_lpp_value_t* value);


/**
 * @brief Returns encoding/decoding stream buffer.
 *
 * @param[in]  stream      opaque pointer to the stream
 * @param[out] buffer_size stream buffer size
 * @param[out] stream_size current stream size
 * @param[out] value       read data value
 *
 * @return Buffer pointer.
 *
 * Decoding stream buffer and stream sizes are equal.
 */
const uint8_t* cayenne_lpp_stream_get_buffer(
	cayenne_lpp_stream_t* stream,
	size_t* buffer_size,
	size_t* stream_size);


/**
 * @brief Returns encoding/decoding stream free space.
 *
 * @param[in] stream      opaque pointer to the stream
 *
 * @return Stream free space.
 *
 * Decoding stream free space is zero.
 */
size_t cayenne_lpp_stream_get_free_space(
	cayenne_lpp_stream_t* stream);


/**
 * @brief Resets encoding/decoding stream state
 *
 * Rewinds encoding stream write pointer and flushes all encoded data.
 * Rewinds decoding stream read pointer.
 * 
 * @param[in] stream      opaque pointer to the stream
 */
void cayenne_lpp_stream_reset(
	cayenne_lpp_stream_t* stream);
```

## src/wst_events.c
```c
/*
 * This file is part of Weather Station project <https://github.com/VeniaminGH/Weather-Station>.
 * Copyright (c) 2024 Veniamin Milevski
 *
 * This program is free software: you can redistribute it and/or modify
 * it under the terms of the GNU General Public License as published by
 * the Free Software Foundation, version 3.
 *
 * This program is distributed WITHOUT ANY WARRANTY. See the GNU
 * General Public License for more details.
 *
 * You should have received a copy of the GNU General Public License
 * along with this program. If not, see <https://www.gnu.org/licenses/gpl-3.0.html>.
 */

#include "wst_events.h"

//
// Define the events partition, which will contain a memory region that
// will be accessible by both IO and APP threads
//
K_APPMEM_PARTITION_DEFINE(events_partition);

//
// Define a memory pool in the events area
//
K_APP_DMEM(events_partition) struct sys_heap events_pool;
K_APP_DMEM(events_partition) uint8_t events_pool_mem[WST_EVENTS_POOL_SIZE];

//
// Define queues for exchanging data between IO and App threads
//
K_QUEUE_DEFINE(app_events_queue);
K_QUEUE_DEFINE(io_events_queue);
```

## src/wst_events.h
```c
/*
 * This file is part of Weather Station project <https://github.com/VeniaminGH/Weather-Station>.
 * Copyright (c) 2024 Veniamin Milevski
 *
 * This program is free software: you can redistribute it and/or modify
 * it under the terms of the GNU General Public License as published by
 * the Free Software Foundation, version 3.
 *
 * This program is distributed WITHOUT ANY WARRANTY. See the GNU
 * General Public License for more details.
 *
 * You should have received a copy of the GNU General Public License
 * along with this program. If not, see <https://www.gnu.org/licenses/gpl-3.0.html>.
 */

#pragma once

#include <zephyr/kernel.h>
#include <zephyr/app_memory/app_memdomain.h>
#include <zephyr/sys/sys_heap.h>

#include <zephyr/drivers/sensor.h>
#include <zephyr/drivers/sensor_data_types.h>

#define WST_EVENTS_POOL_SIZE (2048)

extern struct k_mem_partition events_partition;

extern struct sys_heap events_pool;
extern uint8_t events_pool_mem[WST_EVENTS_POOL_SIZE];

extern struct k_queue app_events_queue;
extern struct k_queue io_events_queue;


typedef enum wst_event {
	wst_event_lorawan_join,
	wst_event_lorawan_datarate,
	wst_event_lorawan_send,
	wst_event_lorawan_send_completed,
	wst_event_lorawan_received,
	wst_event_sensor_data_available,
} wst_event_t;

typedef struct wst_lorawan_datarate {
	uint8_t dr;
	size_t next_size;
	size_t max_size;
} wst_lorawan_datarate_t;

typedef struct wst_lorawan_send {
	size_t size;
	uint8_t payload[0];
} wst_lorawan_send_t;

typedef struct wst_lorawan_send_completed {
	int result;
} wst_lorawan_send_completed_t;

typedef struct wst_lorawan_received {
	size_t size;
	uint8_t payload[0];
} wst_lorawan_received_t;

typedef union wst_sensor_data {
	struct sensor_three_axis_data q31_3d_data;
	struct sensor_q31_data q31_data;
	struct sensor_occurrence_data occurence;
	struct sensor_byte_data byte_data;
	struct sensor_uint64_data uint64_data;
} wst_sensor_data_t;

typedef struct wst_sensor_value {
	struct sensor_chan_spec spec;
	wst_sensor_data_t data;
} wst_sensor_value_t;

typedef struct wst_event_msg {
	wst_event_t event;
	union {
		struct {
			uint16_t count;
			wst_sensor_value_t values[0];
		} sensor;
		union {
			wst_lorawan_datarate_t datarate;
			wst_lorawan_send_t send;
			wst_lorawan_send_completed_t send_completed;
			wst_lorawan_received_t received;
		} lorawan;
	};
} wst_event_msg_t;
```

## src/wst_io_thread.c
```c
/*
 * This file is part of Weather Station project <https://github.com/VeniaminGH/Weather-Station>.
 * Copyright (c) 2024 Veniamin Milevski
 *
 * This program is free software: you can redistribute it and/or modify
 * it under the terms of the GNU General Public License as published by
 * the Free Software Foundation, version 3.
 *
 * This program is distributed WITHOUT ANY WARRANTY. See the GNU
 * General Public License for more details.
 *
 * You should have received a copy of the GNU General Public License
 * along with this program. If not, see <https://www.gnu.org/licenses/gpl-3.0.html>.
 */

#include "wst_io_thread.h"
#include "wst_lorawan.h"
#include "wst_events.h"

#include <zephyr/kernel.h>
#include <zephyr/sys/libc-hooks.h>
#include <zephyr/logging/log.h>

LOG_MODULE_REGISTER(wst_io_thread);


void wst_io_thread_entry(void *p1, void *p2, void *p3)
{
	int ret;

	ARG_UNUSED(p1);
	ARG_UNUSED(p2);
	ARG_UNUSED(p3);

	bool joined = false;

	//
	// We remain in supervisor mode to allow IO thread to access LoRaWAN radio.
	//
	LOG_INF("IO thread entered");

	while (1) {
		// Get LoRaWAN message from Aplication Thread
		wst_event_msg_t* msg = k_queue_get(&io_events_queue, K_FOREVER);
		if (msg == NULL) {
			LOG_ERR("no msg?");
			k_panic();
		}

		switch (msg->event) {

		case wst_event_lorawan_join:
			LOG_INF("Join message received");
			ret = wst_lorawan_join();
			if (ret) {
				LOG_ERR("Failed to join Network (%d)!", ret);
				k_oops();
			} else {
				LOG_INF("Joined the Network!");
				joined = true;
			}
			break;

		case wst_event_lorawan_send:
			LOG_INF("Send message received");
			if (joined) {
				// send it to the network
				ret = wst_lorawan_send(
					msg->lorawan.send.payload,
					msg->lorawan.send.size
				);
				if (ret) {
					LOG_ERR("Failed to send data to the Network (%d)!", ret);
				}

				wst_event_msg_t* app_msg = sys_heap_alloc(
					&events_pool,
					sizeof(wst_event_msg_t)
				);
				if (app_msg == NULL) {
					LOG_ERR("couldn't alloc memory from shared pool");
					k_panic();
				}
				app_msg->event = wst_event_lorawan_send_completed;
				app_msg->lorawan.send_completed.result = ret;
				k_queue_alloc_append(&app_events_queue, app_msg);
			}
			break;

		default:
			break;
		}
		// and free the message
		sys_heap_free(&events_pool, msg);
	}
}
```

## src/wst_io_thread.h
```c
/*
 * This file is part of Weather Station project <https://github.com/VeniaminGH/Weather-Station>.
 * Copyright (c) 2024 Veniamin Milevski
 *
 * This program is free software: you can redistribute it and/or modify
 * it under the terms of the GNU General Public License as published by
 * the Free Software Foundation, version 3.
 *
 * This program is distributed WITHOUT ANY WARRANTY. See the GNU
 * General Public License for more details.
 *
 * You should have received a copy of the GNU General Public License
 * along with this program. If not, see <https://www.gnu.org/licenses/gpl-3.0.html>.
 */

#pragma once

#include <zephyr/kernel.h>
#include <zephyr/app_memory/app_memdomain.h>

#define WST_IO_STACKSIZE	4096

void wst_io_thread_entry(void *p1, void *p2, void *p3);
```
